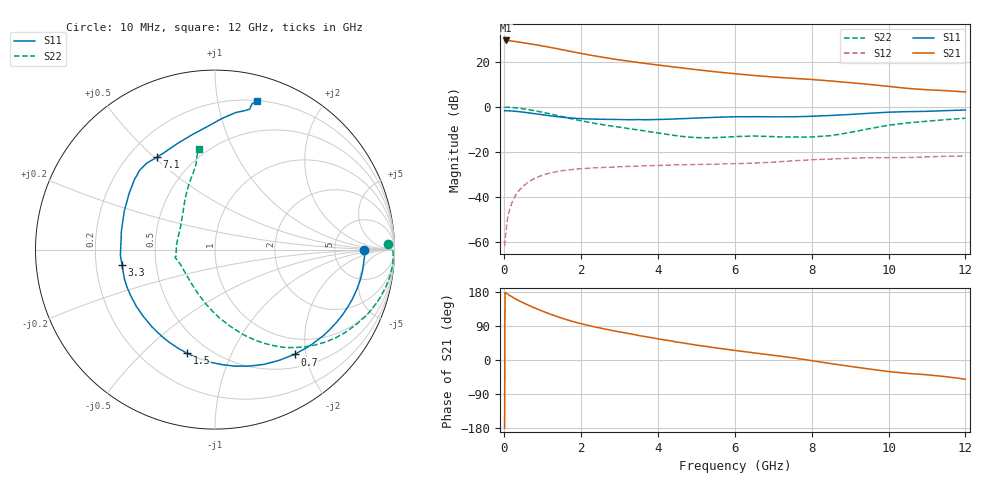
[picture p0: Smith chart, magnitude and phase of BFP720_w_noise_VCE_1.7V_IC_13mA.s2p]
! Infineon Technologies  Discrete & RF Semiconductors
! BFP720
! VCE =  1.7 V,  IC =  13 mA
! Common Emitter S-Parameters:  Aug 2012
# GHz  S  MA  R  50
!  f  S11  S21  S12  S22
! GHz  MAG  ANG  MAG  ANG  MAG  ANG  MAG  ANG
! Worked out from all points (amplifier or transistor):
!   105 points, 10 MHz to 12 GHz, reference 50 ohm
!   highest |S21| = 29.7 dB at 50 MHz (marker M1)
!   |S21| within 3 dB of that: start of sweep to 1.169 GHz
!   unconditionally stable (mu >= 1): start of sweep to 11.21 MHz; 5.062 GHz to 11.27 GHz
!   at 300 MHz: K = 0.11, MSG = 34.2 dB, |S12| = -39.2 dB
!   at 3.6 GHz: K = 0.78, MSG = 22.9 dB, |S12| = -26.2 dB
!   at 12 GHz: K = 0.82, MSG = 14.3 dB, |S12| = -21.8 dB
!   lowest NFmin = 0.59 dB at 450 MHz
!   S11 on the Smith chart (normalised r, x): 10 MHz: 11, +0; 700 MHz: 0.71, -1.79; 1.5 GHz: 0.38, -0.69; 3.3 GHz: 0.31, -0.07; 7.1 GHz: 0.31, +0.51; 12 GHz: 0.20, +1.30
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0.01  0.8308 0.0  30.14 -179.8  0.0008 -25.7  0.9672 2.0
0.02  0.8357 -1.5  30.27 178.3  0.001 89.6  0.9915 -0.6
0.05  0.8324 -3.9  30.57 176.4  0.0018 95.3  0.9935 -2.2
0.15  0.8269 -11.9  30.1 169.9  0.0056 83.4  0.989 -7.5
0.25  0.8138 -19.7  29.31 163.8  0.0092 79.7  0.9736 -12.4
0.35  0.7978 -27.2  28.39 158.3  0.0127 75.8  0.9533 -17.2
0.5  0.7714 -38.3  27.11 150.7  0.0176 69.8  0.9169 -23.9
0.7  0.733 -52.8  25.46 141.4  0.0235 62.8  0.8607 -32.4
0.9  0.6949 -67.0  23.85 132.8  0.0284 56.4  0.8 -40.2
1.1  0.6582 -80.5  22.2 124.8  0.0325 50.6  0.7362 -47.4
1.5  0.5984 -105.0  19.07 110.5  0.0383 41.3  0.616 -59.7
1.8  0.5682 -120.7  16.97 101.2  0.0411 35.8  0.5394 -67.3
2.1  0.549 -133.4  15.15 93.5  0.043 31.8  0.4783 -73.7
2.6  0.5355 -150.6  12.75 82.0  0.0455 26.7  0.402 -83.1
3.3  0.5251 -170.8  10.38 68.7  0.048 21.9  0.3274 -95.2
4.1  0.5331 166.5  8.464 54.2  0.0505 17.9  0.2577 -112.7
5  0.5719 146.7  6.84 39.2  0.0528 14.2  0.2101 -142.2
6.1  0.6104 132.3  5.447 24.0  0.0553 11.9  0.2219 -166.5
7.1  0.6084 122.0  4.622 11.2  0.0603 11.2  0.2183 -173.4
8.5  0.6525 101.3  3.82 -9.5  0.0699 4.2  0.2316 145.6
10.5  0.7936 77.6  2.613 -35.3  0.0755 -7.3  0.4461 105.7
12  0.8632 74.2  2.184 -50.6  0.0817 -15.4  0.5676 99.0
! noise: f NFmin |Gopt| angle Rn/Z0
0.45  0.59  0.25  1  0.17
1.8  0.65  0.23  16  0.13
2.4  0.7  0.21  29  0.37
5.5  0.86  0.09  -13  0.17
10  1.05  0.42  -76  0.26
